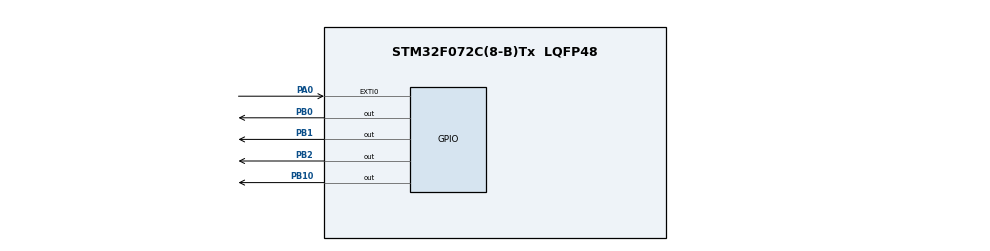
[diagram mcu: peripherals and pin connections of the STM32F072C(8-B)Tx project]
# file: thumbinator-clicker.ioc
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Mcu.Family=STM32F0
Mcu.Name=STM32F072C(8-B)Tx
Mcu.Package=LQFP48
NVIC.EXTI0_1_IRQn=true\:0\:0\:false\:false\:true
PA0.GPIO_ModeDefaultEXTI=GPIO_MODE_IT_RISING
PA0.GPIO_PuPd=GPIO_PULLUP
PA0.Signal=GPXTI0
PB0.Signal=GPIO_Output
PB1.Signal=GPIO_Output
PB10.Signal=GPIO_Output
PB2.Signal=GPIO_Output
ProjectManager.HeapSize=0x200
ProjectManager.StackSize=0x400
ProjectManager.TargetToolchain=SW4STM32
board=thumbinator-clicker

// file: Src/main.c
/**
  ******************************************************************************
  * File Name          : main.c
  * Description        : Main program body
  ******************************************************************************
  *
  * COPYRIGHT(c) 2016 STMicroelectronics
  *
  * Redistribution and use in source and binary forms, with or without modification,
  * are permitted provided that the following conditions are met:
  *   1. Redistributions of source code must retain the above copyright notice,
  *      this list of conditions and the following disclaimer.
  *   2. Redistributions in binary form must reproduce the above copyright notice,
  *      this list of conditions and the following disclaimer in the documentation
  *      and/or other materials provided with the distribution.
  *   3. Neither the name of STMicroelectronics nor the names of its contributors
  *      may be used to endorse or promote products derived from this software
  *      without specific prior written permission.
  *
  * THIS SOFTWARE IS PROVIDED BY THE COPYRIGHT HOLDERS AND CONTRIBUTORS "AS IS"
  * AND ANY EXPRESS OR IMPLIED WARRANTIES, INCLUDING, BUT NOT LIMITED TO, THE
  * IMPLIED WARRANTIES OF MERCHANTABILITY AND FITNESS FOR A PARTICULAR PURPOSE ARE
  * DISCLAIMED. IN NO EVENT SHALL THE COPYRIGHT HOLDER OR CONTRIBUTORS BE LIABLE
  * FOR ANY DIRECT, INDIRECT, INCIDENTAL, SPECIAL, EXEMPLARY, OR CONSEQUENTIAL
  * DAMAGES (INCLUDING, BUT NOT LIMITED TO, PROCUREMENT OF SUBSTITUTE GOODS OR
  * SERVICES; LOSS OF USE, DATA, OR PROFITS; OR BUSINESS INTERRUPTION) HOWEVER
  * CAUSED AND ON ANY THEORY OF LIABILITY, WHETHER IN CONTRACT, STRICT LIABILITY,
  * OR TORT (INCLUDING NEGLIGENCE OR OTHERWISE) ARISING IN ANY WAY OUT OF THE USE
  * OF THIS SOFTWARE, EVEN IF ADVISED OF THE POSSIBILITY OF SUCH DAMAGE.
  *
  ******************************************************************************
  */
#include "main.h"
#include "stm32f0xx_hal.h"

/* USER CODE BEGIN PV */
/* Private variables ---------------------------------------------------------*/
static unsigned short disco_mode = 0;
static unsigned short disco_pattern = 1;
static unsigned short disco_direction = 0;
/* USER CODE END PV */

void SystemClock_Config(void);
void Error_Handler(void);
static void MX_GPIO_Init(void);

/* USER CODE BEGIN PFP */
/* Private function prototypes -----------------------------------------------*/

/* USER CODE END PFP */

/* USER CODE BEGIN 0 */
void HAL_GPIO_EXTI_Callback(uint16_t GPIO_Pin)
{
  //if ((GPIO_Pin & GPIO_PIN_0) > 0) {
    disco_mode = !disco_mode;
    disco_pattern = 1;
    disco_direction = 0;
  //}
}

static void next_led(void) {
  if (disco_mode == 0) {
    disco_pattern = (disco_pattern + 1) % 16;
  } else if (disco_direction == 0 && disco_pattern == 1) {
    disco_pattern = disco_pattern + 2;
  } else if (disco_direction == 0 && disco_pattern == 3 << 3) {
    disco_direction = 1;
  } else if (disco_direction == 1 && disco_pattern == 1) {
    disco_direction = 0;
  } else if (disco_direction == 0) {
    disco_pattern = disco_pattern << 1;
  } else {
    disco_pattern = disco_pattern >> 1;
  }

  HAL_GPIO_WritePin(GPIOB, GPIO_PIN_0|GPIO_PIN_1|GPIO_PIN_2|GPIO_PIN_10, GPIO_PIN_RESET);
  if (disco_pattern & 1) HAL_GPIO_WritePin(GPIOB, GPIO_PIN_0, GPIO_PIN_SET);
  if (disco_pattern & 2) HAL_GPIO_WritePin(GPIOB, GPIO_PIN_1, GPIO_PIN_SET);
  if (disco_pattern & 4) HAL_GPIO_WritePin(GPIOB, GPIO_PIN_2, GPIO_PIN_SET);
  if (disco_pattern & 8) HAL_GPIO_WritePin(GPIOB, GPIO_PIN_10, GPIO_PIN_SET);
}
/* USER CODE END 0 */

int main(void)
{

  /* MCU Configuration----------------------------------------------------------*/

  /* Reset of all peripherals, Initializes the Flash interface and the Systick. */
  HAL_Init();

  /* Configure the system clock */
  SystemClock_Config();

  /* Initialize all configured peripherals */
  MX_GPIO_Init();

  /* Infinite loop */
  while (1)
  {

  /* USER CODE BEGIN 3 */
    next_led();
    HAL_Delay(100);
  }
  /* USER CODE END 3 */

}

/** System Clock Configuration
*/
void SystemClock_Config(void)
{

  RCC_OscInitTypeDef RCC_OscInitStruct;
  RCC_ClkInitTypeDef RCC_ClkInitStruct;

    /**Initializes the CPU, AHB and APB busses clocks
    */
  RCC_OscInitStruct.OscillatorType = RCC_OSCILLATORTYPE_HSI;
  RCC_OscInitStruct.HSIState = RCC_HSI_ON;
  RCC_OscInitStruct.HSICalibrationValue = 16;
  RCC_OscInitStruct.PLL.PLLState = RCC_PLL_NONE;
  if (HAL_RCC_OscConfig(&RCC_OscInitStruct) != HAL_OK)
  {
    Error_Handler();
  }

    /**Initializes the CPU, AHB and APB busses clocks
    */
  RCC_ClkInitStruct.ClockType = RCC_CLOCKTYPE_HCLK|RCC_CLOCKTYPE_SYSCLK
                              |RCC_CLOCKTYPE_PCLK1;
  RCC_ClkInitStruct.SYSCLKSource = RCC_SYSCLKSOURCE_HSI;
  RCC_ClkInitStruct.AHBCLKDivider = RCC_SYSCLK_DIV1;
  RCC_ClkInitStruct.APB1CLKDivider = RCC_HCLK_DIV1;

  if (HAL_RCC_ClockConfig(&RCC_ClkInitStruct, FLASH_LATENCY_0) != HAL_OK)
  {
    Error_Handler();
  }

    /**Configure the Systick interrupt time
    */
  HAL_SYSTICK_Config(HAL_RCC_GetHCLKFreq()/1000);

    /**Configure the Systick
    */
  HAL_SYSTICK_CLKSourceConfig(SYSTICK_CLKSOURCE_HCLK);

  /* SysTick_IRQn interrupt configuration */
  HAL_NVIC_SetPriority(SysTick_IRQn, 0, 0);
}

/** Configure pins as
        * Analog
        * Input
        * Output
        * EVENT_OUT
        * EXTI
*/
static void MX_GPIO_Init(void)
{

  GPIO_InitTypeDef GPIO_InitStruct;

  /* GPIO Ports Clock Enable */
  __HAL_RCC_GPIOA_CLK_ENABLE();
  __HAL_RCC_GPIOB_CLK_ENABLE();

  /*Configure GPIO pin : PA0 */
  GPIO_InitStruct.Pin = GPIO_PIN_0;
  GPIO_InitStruct.Mode = GPIO_MODE_IT_RISING;
  GPIO_InitStruct.Pull = GPIO_PULLUP;
  HAL_GPIO_Init(GPIOA, &GPIO_InitStruct);

  /*Configure GPIO pins : PB0 PB1 PB2 PB10 */
  GPIO_InitStruct.Pin = GPIO_PIN_0|GPIO_PIN_1|GPIO_PIN_2|GPIO_PIN_10;
  GPIO_InitStruct.Mode = GPIO_MODE_OUTPUT_PP;
  GPIO_InitStruct.Pull = GPIO_NOPULL;
  GPIO_InitStruct.Speed = GPIO_SPEED_FREQ_LOW;
  HAL_GPIO_Init(GPIOB, &GPIO_InitStruct);

  /*Configure GPIO pin Output Level */
  HAL_GPIO_WritePin(GPIOB, GPIO_PIN_0|GPIO_PIN_1|GPIO_PIN_2|GPIO_PIN_10, GPIO_PIN_RESET);

  /* EXTI interrupt init*/
  HAL_NVIC_SetPriority(EXTI0_1_IRQn, 0, 0);
  HAL_NVIC_EnableIRQ(EXTI0_1_IRQn);

}

void Error_Handler(void)
{
  while(1)
  {
  }
}

/************************ (C) COPYRIGHT STMicroelectronics *****END OF FILE****/
// vim: ts=2 sw=2 et
